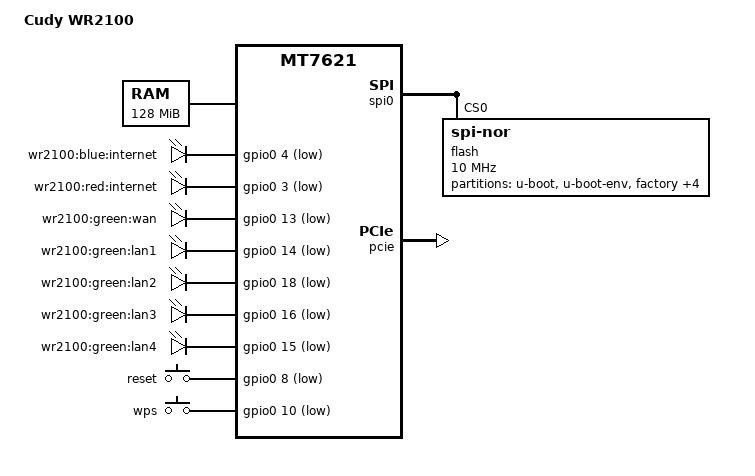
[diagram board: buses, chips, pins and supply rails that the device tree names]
// SPDX-License-Identifier: GPL-2.0-or-later OR MIT
/dts-v1/;

#include "mt7621.dtsi"

#include <dt-bindings/gpio/gpio.h>
#include <dt-bindings/input/input.h>

/ {
	compatible = "cudy,wr2100", "mediatek,mt7621-soc";
	model = "Cudy WR2100";

	aliases {
		led-boot = &led_internet_blue;
		led-failsafe = &led_internet_blue;
		led-running = &led_internet_blue;
		led-upgrade = &led_internet_blue;
	};

	memory@0 {
		device_type = "memory";
		reg = <0x0 0x8000000>;
	};

	chosen {
		bootargs = "console=ttyS0,115200";
	};

	leds {
		compatible = "gpio-leds";

		led_internet_blue: internet_blue {
			label = "wr2100:blue:internet";
			gpios = <&gpio0 4 GPIO_ACTIVE_LOW>;
		};

		internet_red {
			label = "wr2100:red:internet";
			gpios = <&gpio0 3 GPIO_ACTIVE_LOW>;
		};

		wan {
			label = "wr2100:green:wan";
			gpios = <&gpio0 13 GPIO_ACTIVE_LOW>;
		};

		lan1 {
			label = "wr2100:green:lan1";
			gpios = <&gpio0 14 GPIO_ACTIVE_LOW>;
		};

		lan2 {
			label = "wr2100:green:lan2";
			gpios = <&gpio0 18 GPIO_ACTIVE_LOW>;
		};

		lan3 {
			label = "wr2100:green:lan3";
			gpios = <&gpio0 16 GPIO_ACTIVE_LOW>;
		};

		lan4 {
			label = "wr2100:green:lan4";
			gpios = <&gpio0 15 GPIO_ACTIVE_LOW>;
		};
	};

	keys {
		compatible = "gpio-keys-polled";
		poll-interval = <20>;

		reset {
			label = "reset";
			gpios = <&gpio0 8 GPIO_ACTIVE_LOW>;
			linux,code = <KEY_RESTART>;
		};

		wps {
			label = "wps";
			gpios = <&gpio0 10 GPIO_ACTIVE_LOW>;
			linux,code = <KEY_WPS_BUTTON>;
		};
	};
};

&spi0 {
	status = "okay";

	flash@0 {
		compatible = "jedec,spi-nor";
		reg = <0>;
		spi-max-frequency = <10000000>;

		partitions {
			compatible = "fixed-partitions";
			#address-cells = <1>;
			#size-cells = <1>;

			partition@0 {
				label = "u-boot";
				reg = <0x0 0x30000>;
				read-only;
			};

			partition@30000 {
				label = "u-boot-env";
				reg = <0x30000 0x10000>;
				read-only;
			};

			factory: partition@40000 {
				label = "factory";
				reg = <0x40000 0x10000>;
				read-only;
			};

			firmware: partition@50000 {
				compatible = "denx,uimage";
				label = "firmware";
				reg = <0x50000 0xf80000>;
			};

			partition@fd0000 {
				label = "debug";
				reg = <0xfd0000 0x10000>;
				read-only;
			};

			partition@fe0000 {
				label = "backup";
				reg = <0xfe0000 0x10000>;
				read-only;
			};


			bdinfo: partition@ff0000 {
				label = "bdinfo";
				reg = <0xff0000 0x10000>;
				read-only;
			};
		};
	};
};

&pcie {
	status = "okay";
};

&pcie0 {
	wifi@0,0 {
		reg = <0x0000 0 0 0 0>;
		mediatek,mtd-eeprom = <&factory 0x0000>;
		ieee80211-freq-limit = <2400000 2500000>;
	};
};

&pcie1 {
	wifi@1,0 {
		reg = <0x0000 0 0 0 0>;
		mediatek,mtd-eeprom = <&factory 0x8000>;
		ieee80211-freq-limit = <5000000 6000000>;
	};
};

&ethernet {
	mtd-mac-address = <&bdinfo 0xde00>;
};

&pinctrl {
	state_default: pinctrl0 {
		gpio {
			ralink,group = "i2c", "jtag", "uart2", "uart3", "wdt";
			ralink,function = "gpio";
		};
	};
};
